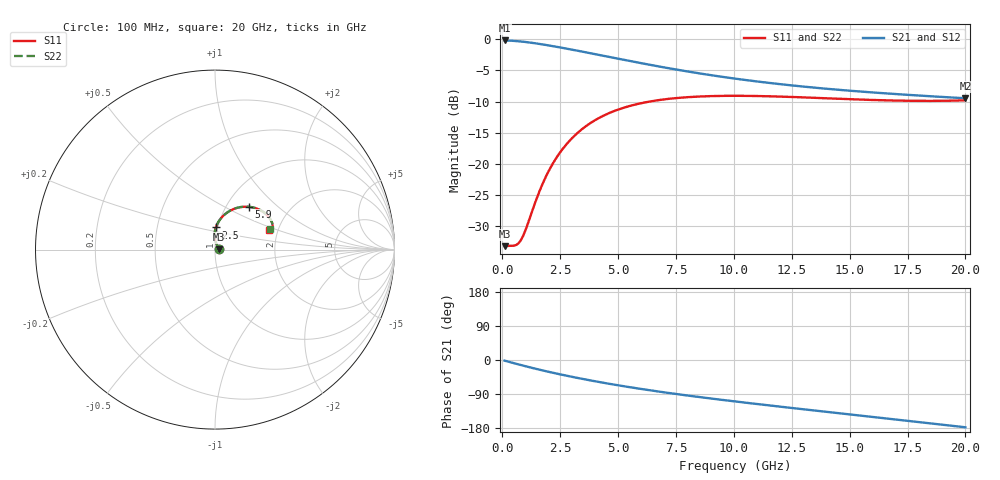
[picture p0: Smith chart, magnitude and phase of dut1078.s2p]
! Touchstone file exported from HFSS 2024.1.0
!  File:  C:/UserFiles/LocalFiles/RDL_TSV_Batchsim/temp_RDL_TSV_1078_1780095026.aedt
!  Generated:  07:04:37 AM May 30, 2026
!  Design:  RDL_TSV
!  Project:  temp_RDL_TSV_1078_1780095026
!  Setup:  Setup1
!  Solution:  Sweep
! Variables:
!  dtsv = 8.74um
!  hbump = 3um
!  htsv = 96.72um
!  ldown = 469.36um
!  lrdl = 185.87um
!  p = 40
!  p1 = 56.93um
!  rhole = 10um
!  subl = 2151.56um
!  t = 450um
!  tdown = 2.54um
!  trdl = 2.98um
!  viad = 10um
!  wdown = 11.13um
!  wrdl = 23.93um
!  xbump = 18um
# GHz S MA R 50.000000
! Terminal data exported
! Port[1] = TM1_1_T1
! Port[2] = TM1_4_T1
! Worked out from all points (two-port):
!   200 points, 100 MHz to 20 GHz, reference 50 ohm
!   highest |S21| = -0.19 dB at 100 MHz (marker M1); lowest = -9.5 dB at 20 GHz (marker M2)
!   |S21| within 3 dB of the highest: start of sweep to 5.101 GHz
!   lowest |S11| = -33.2 dB at 100 MHz (marker M3), VSWR 1.04, Z = 52.2 + j0.236 ohm
!   |S11| at or under -10 dB: start of sweep to 6.372 GHz
!   |S22| runs from -33.2 to -9.1 dB; largest |S21 - S12| = 7.2e-15
!   S11 on the Smith chart (normalised r, x): 100 MHz: 1.04, +0.00; 2.5 GHz: 0.98, +0.25; 5.9 GHz: 1.27, +0.67; 20 GHz: 1.80, +0.45
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0.1  0.02181 6.0  0.9778 -1.7  0.9778 -1.7  0.02181 6.0
! Gamma 0 0 0 0
! Port Impedance 50 0 50 0
0.6  0.02229 38.5  0.9669 -10.0  0.9669 -10.0  0.02228 38.6
0.8  0.02431 55.4  0.9595 -13.3  0.9595 -13.3  0.02431 55.5
1  0.02927 70.7  0.9506 -16.4  0.9506 -16.4  0.02928 70.8
1.5  0.05357 89.5  0.9236 -24.0  0.9236 -24.0  0.05363 89.5
1.8  0.07311 91.7  0.9052 -28.4  0.9052 -28.4  0.07321 91.7
2.1  0.09439 90.9  0.8858 -32.6  0.8858 -32.6  0.09453 91.0
2.5  0.1238 87.7  0.8593 -37.9  0.8593 -37.9  0.1239 87.8
3  0.1598 82.3  0.8257 -44.3  0.8257 -44.3  0.1601 82.3
3.5  0.1934 76.4  0.7924 -50.3  0.7924 -50.3  0.1937 76.4
4  0.2236 70.5  0.7599 -56.1  0.7599 -56.1  0.2239 70.6
4.6  0.2547 64.0  0.7222 -62.6  0.7222 -62.6  0.2551 64.0
5.2  0.2803 57.9  0.6865 -68.8  0.6865 -68.8  0.2808 58.0
5.9  0.3038 51.6  0.6478 -75.5  0.6478 -75.5  0.3043 51.7
6.8  0.3255 44.6  0.6028 -83.7  0.6028 -83.7  0.3261 44.7
8.3  0.3453 35.3  0.5398 -96.1  0.5398 -96.1  0.346 35.4
10.1  0.3515 27.3  0.4815 -109.7  0.4815 -109.7  0.3523 27.4
11.7  0.3477 22.4  0.4422 -121.1  0.4422 -121.1  0.3486 22.5
13.4  0.3392 19.2  0.41 -132.7  0.41 -132.7  0.3401 19.3
15  0.3302 17.8  0.3863 -143.6  0.3863 -143.6  0.3311 17.8
16.7  0.3227 17.8  0.3661 -155.1  0.3661 -155.1  0.3237 17.8
20  0.3232 20.3  0.3359 -177.6  0.3359 -177.6  0.3241 20.2
